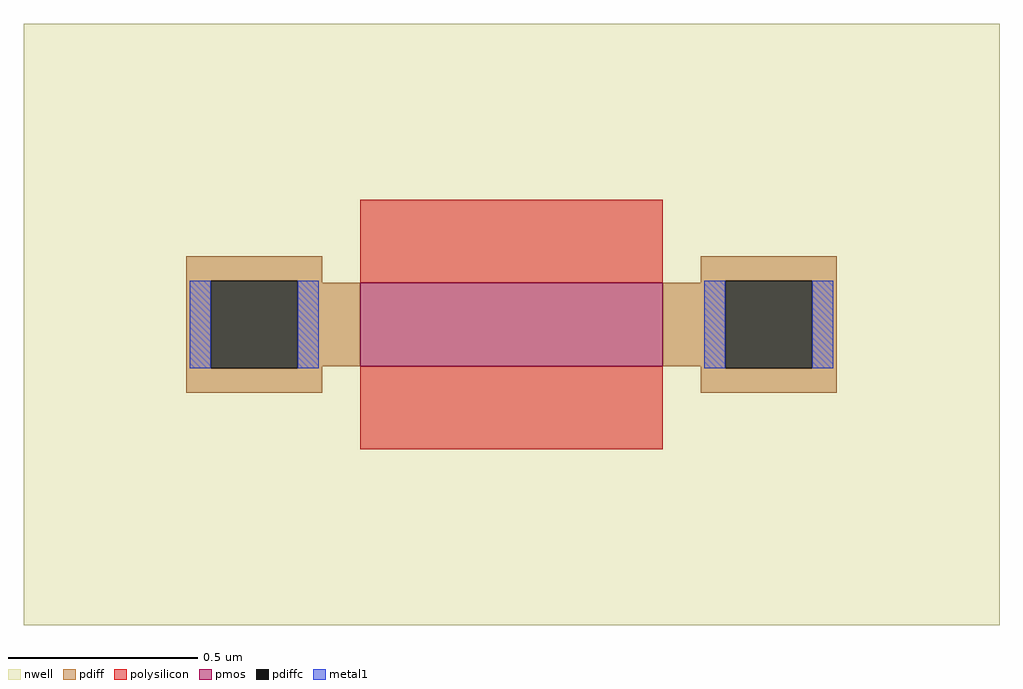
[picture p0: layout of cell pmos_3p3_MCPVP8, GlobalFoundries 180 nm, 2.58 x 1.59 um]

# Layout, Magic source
magic
tech gf180mcuC
magscale 1 10
<< nwell >>
rect -258 -159 258 159
<< pmos >>
rect -80 -22 80 22
<< pdiff >>
rect -172 23 -100 36
rect -172 -23 -159 23
rect -113 22 -100 23
rect 100 23 172 36
rect 100 22 113 23
rect -113 -22 -80 22
rect 80 -22 113 22
rect -113 -23 -100 -22
rect -172 -36 -100 -23
rect 100 -23 113 -22
rect 159 -23 172 23
rect 100 -36 172 -23
<< pdiffc >>
rect -159 -23 -113 23
rect 113 -23 159 23
<< polysilicon >>
rect -80 22 80 66
rect -80 -66 80 -22
<< metal1 >>
rect -170 -23 -159 23
rect -113 -23 -102 23
rect 102 -23 113 23
rect 159 -23 170 23
<< properties >>
string gencell pmos_3p3
string library gf180mcu
string parameters w 0.220 l 0.80 m 1 nf 1 diffcov 100 polycov 100 guard 0 glc 0 grc 0 gtc 0 gbc 0 tbcov 100 rlcov 100 topc 0 botc 0 poverlap 0 doverlap 1 lmin 0.28 wmin 0.22 full_metal 0 compatible {pmos_3p3 pmos_6p0}
<< end >>
